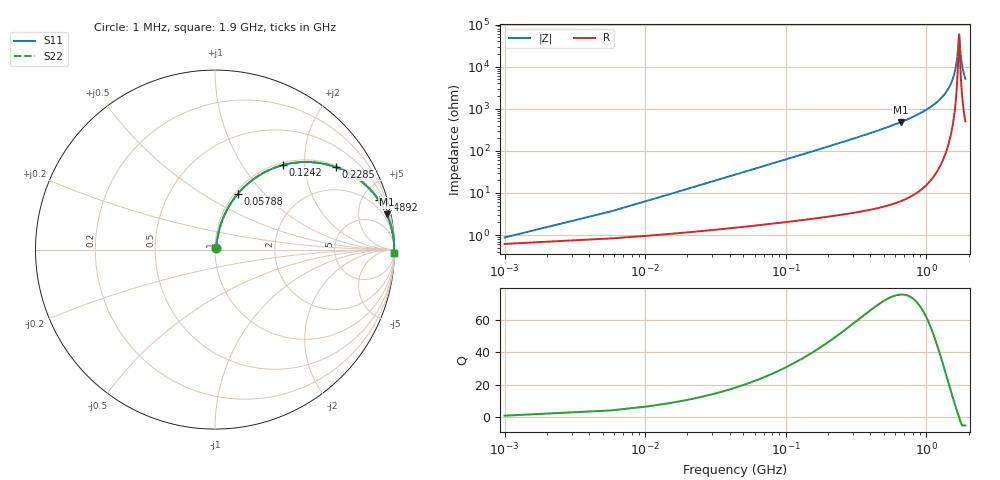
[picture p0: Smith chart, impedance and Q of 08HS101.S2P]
! Coilcraft 0805HS-101 Chip Inductor
! 13 June 2002
# MHZ S MA R 50
!Freq  MagS11  AngS11  MagS21  AngS21  MagS12  AngS12  MagS22  AngS22
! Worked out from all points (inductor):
!   402 points, 1 MHz to 1.9 GHz, reference 50 ohm
!   read as one part in series: L = 99.1 nH near 10.48 MHz
!   highest Q = 75.6 at 659.9 MHz (marker M1), where L = 116 nH
!   self-resonance near 1.712 GHz
!   S11 on the Smith chart (normalised r, x): 1 MHz: 1.01, +0.01; 57.88 MHz: 1.03, +0.72; 124.2 MHz: 1.04, +1.56; 228.5 MHz: 1.06, +2.90; 489.2 MHz: 1.09, +6.63; 1.9 GHz: open
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1  0.008705 45.0  0.9939 -0.4  0.9939 -0.4  0.008705 45.0
15.22  0.09396 78.2  0.9851 -5.4  0.9851 -5.4  0.09396 78.2
19.96  0.1225 77.7  0.9812 -7.0  0.9812 -7.0  0.1225 77.7
34.18  0.206 74.4  0.9654 -11.9  0.9654 -11.9  0.206 74.4
57.88  0.3349 67.8  0.9271 -19.5  0.9271 -19.5  0.3349 67.8
124.24  0.6057 51.1  0.7786 -37.3  0.7786 -37.3  0.6057 51.1
228.52  0.8154 34.2  0.5628 -54.6  0.5628 -54.6  0.8154 34.2
318.58  0.8933 25.8  0.4347 -63.3  0.4347 -63.3  0.8933 25.8
489.22  0.9537 16.7  0.2876 -72.5  0.2876 -72.5  0.9537 16.7
636.16  0.9744 12.2  0.2121 -77.0  0.2121 -77.0  0.9744 12.2
659.86  0.9766 11.7  0.2025 -77.6  0.2025 -77.6  0.9766 11.7
953.74  0.9916 6.6  0.1153 -82.5  0.1153 -82.5  0.9916 6.6
1271.32  0.9969 3.2  0.05667 -85.2  0.05667 -85.2  0.9969 3.2
1460.92  0.998 1.7  0.03005 -85.3  0.03005 -85.3  0.998 1.7
1584.16  0.9983 0.8  0.01485 -82.9  0.01485 -82.9  0.9983 0.8
1655.26  0.9983 0.4  0.006746 -75.4  0.006746 -75.4  0.9983 0.4
1712.14  0.9983 0.0  0.001718 -7.3  0.001718 -7.3  0.9983 0.0
1721.62  0.9983 -0.0  0.001895 25.4  0.001895 25.4  0.9983 -0.0
1754.8  0.9983 -0.3  0.004717 68.1  0.004717 68.1  0.9983 -0.3
1787.98  0.9982 -0.5  0.008085 76.9  0.008085 76.9  0.9982 -0.5
1835.38  0.9981 -0.7  0.01292 81.2  0.01292 81.2  0.9981 -0.7
1900  0.9979 -1.1  0.01937 83.3  0.01937 83.3  0.9979 -1.1
